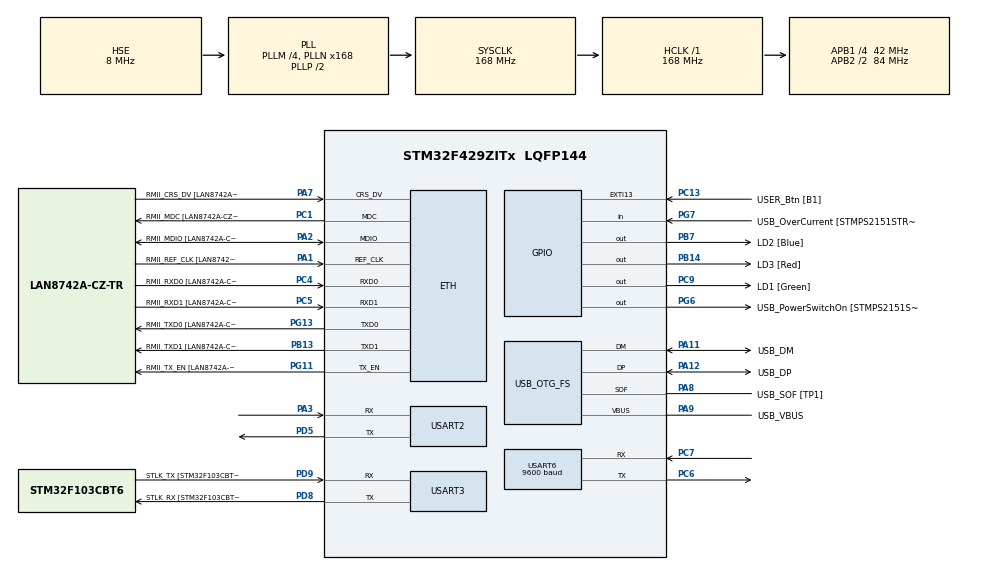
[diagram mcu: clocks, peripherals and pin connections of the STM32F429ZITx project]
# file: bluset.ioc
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ETH.MediaInterface=ETH_MEDIA_INTERFACE_RMII
ETH.PHY_Name=LAN8742A_PHY_ADDRESS
ETH.PHY_Value=0
ETH.PhyAddress=0
Mcu.Family=STM32F4
Mcu.Name=STM32F429ZITx
Mcu.Package=LQFP144
NVIC.PriorityGroup=NVIC_PRIORITYGROUP_4
NVIC.USART2_IRQn=true\:0\:0\:false\:false\:true\:true
NVIC.USART3_IRQn=true\:0\:0\:false\:false\:true\:true
NVIC.USART6_IRQn=true\:0\:0\:false\:false\:true\:true
PA1.GPIO_Label=RMII_REF_CLK [LAN8742A-CZ-TR_REFCLK0]
PA1.Mode=RMII
PA1.Signal=ETH_REF_CLK
PA10.GPIO_Label=USB_ID
PA10.Signal=USB_OTG_FS_ID
PA11.GPIO_Label=USB_DM
PA11.Mode=Device_Only
PA11.Signal=USB_OTG_FS_DM
PA12.GPIO_Label=USB_DP
PA12.Mode=Device_Only
PA12.Signal=USB_OTG_FS_DP
PA13.GPIO_Label=TMS
PA13.Mode=Serial_Wire
PA13.Signal=SYS_JTMS-SWDIO
PA14.GPIO_Label=TCK
PA14.Mode=Serial_Wire
PA14.Signal=SYS_JTCK-SWCLK
PA2.GPIO_Label=RMII_MDIO [LAN8742A-CZ-TR_MDIO]
PA2.Mode=RMII
PA2.Signal=ETH_MDIO
PA3.Mode=Asynchronous
PA3.Signal=USART2_RX
PA7.GPIO_Label=RMII_CRS_DV [LAN8742A-CZ-TR_CRS_DV]
PA7.Mode=RMII
PA7.Signal=ETH_CRS_DV
PA8.GPIO_Label=USB_SOF [TP1]
PA8.Mode=Activate_SOF_FS
PA8.Signal=USB_OTG_FS_SOF
PA9.GPIO_Label=USB_VBUS
PA9.Mode=Activate_VBUS
PA9.Signal=USB_OTG_FS_VBUS
PB13.GPIO_Label=RMII_TXD1 [LAN8742A-CZ-TR_TXD1]
PB13.Mode=RMII
PB13.Signal=ETH_TXD1
PB14.GPIO_Label=LD3 [Red]
PB14.Signal=GPIO_Output
PB7.GPIO_Label=LD2 [Blue]
PB7.Signal=GPIO_Output
PC1.GPIO_Label=RMII_MDC [LAN8742A-CZ-TR_MDC]
PC1.Mode=RMII
PC1.Signal=ETH_MDC
PC13.GPIO_Label=USER_Btn [B1]
PC13.Signal=GPXTI13
PC14/OSC32_IN.Mode=LSE-External-Oscillator
PC14/OSC32_IN.Signal=RCC_OSC32_IN
PC15/OSC32_OUT.Mode=LSE-External-Oscillator
PC15/OSC32_OUT.Signal=RCC_OSC32_OUT
PC4.GPIO_Label=RMII_RXD0 [LAN8742A-CZ-TR_RXD0]
PC4.Mode=RMII
PC4.Signal=ETH_RXD0
PC5.GPIO_Label=RMII_RXD1 [LAN8742A-CZ-TR_RXD1]
PC5.Mode=RMII
PC5.Signal=ETH_RXD1
PC6.Mode=Asynchronous
PC6.Signal=USART6_TX
PC7.Mode=Asynchronous
PC7.Signal=USART6_RX
PC9.GPIO_Label=LD1 [Green]
PC9.Signal=GPIO_Output
PD5.Mode=Asynchronous
PD5.Signal=USART2_TX
PD8.GPIO_Label=STLK_RX [STM32F103CBT6_PA3]
PD8.Mode=Asynchronous
PD8.Signal=USART3_TX
PD9.GPIO_Label=STLK_TX [STM32F103CBT6_PA2]
PD9.Mode=Asynchronous
PD9.Signal=USART3_RX
PG11.GPIO_Label=RMII_TX_EN [LAN8742A-CZ-TR_TXEN]
PG11.Mode=RMII
PG11.Signal=ETH_TX_EN
PG13.GPIO_Label=RMII_TXD0 [LAN8742A-CZ-TR_TXD0]
PG13.Mode=RMII
PG13.Signal=ETH_TXD0
PG6.GPIO_Label=USB_PowerSwitchOn [STMPS2151STR_EN]
PG6.Signal=GPIO_Output
PG7.GPIO_Label=USB_OverCurrent [STMPS2151STR_FAULT]
PG7.Signal=GPIO_Input
PH0/OSC_IN.GPIO_Label=MCO [STM32F103CBT6_PA8]
PH0/OSC_IN.Mode=HSE-External-Clock-Source
PH0/OSC_IN.Signal=RCC_OSC_IN
PH1/OSC_OUT.Mode=HSE-External-Clock-Source
PH1/OSC_OUT.Signal=RCC_OSC_OUT
ProjectManager.HeapSize=0x200
ProjectManager.StackSize=0x400
ProjectManager.TargetToolchain=EWARM V7
RCC.48MHZClocksFreq_Value=48000000
RCC.AHBFreq_Value=168000000
RCC.APB1CLKDivider=RCC_HCLK_DIV4
RCC.APB1Freq_Value=42000000
RCC.APB1TimFreq_Value=84000000
RCC.APB2CLKDivider=RCC_HCLK_DIV2
RCC.APB2Freq_Value=84000000
RCC.APB2TimCLKDivider=2
RCC.APB2TimFreq_Value=168000000
RCC.CortexFreq_Value=168000000
RCC.HCLKFreq_Value=168000000
RCC.HSE_VALUE=8000000
RCC.HSI_VALUE=16000000
RCC.PLLM=4
RCC.PLLMUL=RCC_PLL_MUL9
RCC.PLLN=168
RCC.PLLQ=7
RCC.PRESCALERUSB=RCC_USBCLKSOURCE_PLL_DIV1_5
RCC.SYSCLKFreq_VALUE=168000000
RCC.SYSCLKSource=RCC_SYSCLKSOURCE_PLLCLK
RCC.SYSCLKSourceVirtual=RCC_SYSCLKSOURCE_PLLCLK
RCC.USBFreq_Value=48000000
RCC.VCOOutputFreq_Value=336000000
USART2.VirtualMode=VM_ASYNC
USART3.VirtualMode=VM_ASYNC
USART6.BaudRate=9600
USART6.VirtualMode=VM_ASYNC
USB_OTG_FS.VirtualMode=Device_Only
board=NUCLEO-F429ZI

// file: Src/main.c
/* USER CODE BEGIN Header */
/**
  ******************************************************************************
  * @file           : main.c
  * @brief          : Main program body
  ******************************************************************************
  ** This notice applies to any and all portions of this file
  * that are not between comment pairs USER CODE BEGIN and
  * USER CODE END. Other portions of this file, whether
  * inserted by the user or by software development tools
  * are owned by their respective copyright owners.
  *
  * COPYRIGHT(c) 2019 STMicroelectronics
  *
  * Redistribution and use in source and binary forms, with or without modification,
  * are permitted provided that the following conditions are met:
  *   1. Redistributions of source code must retain the above copyright notice,
  *      this list of conditions and the following disclaimer.
  *   2. Redistributions in binary form must reproduce the above copyright notice,
  *      this list of conditions and the following disclaimer in the documentation
  *      and/or other materials provided with the distribution.
  *   3. Neither the name of STMicroelectronics nor the names of its contributors
  *      may be used to endorse or promote products derived from this software
  *      without specific prior written permission.
  *
  * THIS SOFTWARE IS PROVIDED BY THE COPYRIGHT HOLDERS AND CONTRIBUTORS "AS IS"
  * AND ANY EXPRESS OR IMPLIED WARRANTIES, INCLUDING, BUT NOT LIMITED TO, THE
  * IMPLIED WARRANTIES OF MERCHANTABILITY AND FITNESS FOR A PARTICULAR PURPOSE ARE
  * DISCLAIMED. IN NO EVENT SHALL THE COPYRIGHT HOLDER OR CONTRIBUTORS BE LIABLE
  * FOR ANY DIRECT, INDIRECT, INCIDENTAL, SPECIAL, EXEMPLARY, OR CONSEQUENTIAL
  * DAMAGES (INCLUDING, BUT NOT LIMITED TO, PROCUREMENT OF SUBSTITUTE GOODS OR
  * SERVICES; LOSS OF USE, DATA, OR PROFITS; OR BUSINESS INTERRUPTION) HOWEVER
  * CAUSED AND ON ANY THEORY OF LIABILITY, WHETHER IN CONTRACT, STRICT LIABILITY,
  * OR TORT (INCLUDING NEGLIGENCE OR OTHERWISE) ARISING IN ANY WAY OUT OF THE USE
  * OF THIS SOFTWARE, EVEN IF ADVISED OF THE POSSIBILITY OF SUCH DAMAGE.
  *
  ******************************************************************************
  */

/* USER CODE END Header */

#include "main.h"

/* USER CODE BEGIN Includes */
#include <stdio.h>
#include <stdlib.h>
#include <string.h>
#include "queue.h"

uint8_t pcdata, bldata;
uint8_t stop[3] = {'a', '\r', '\n'}; //1 : stop, 2 : restart, 3 : error
uint8_t restart[3] = {'b', '\r', '\n'};
uint8_t error[3] = {'c', '\r', '\n'};

uint8_t ci = 0;
uint8_t ctemp[100];
uint8_t itemp[100];
uint8_t str_arr[100];
uint8_t istr_len = 0;
int flag = 0;
/* USER CODE END Includes */

ETH_HandleTypeDef heth;

UART_HandleTypeDef huart2;
UART_HandleTypeDef huart3;
UART_HandleTypeDef huart6;

PCD_HandleTypeDef hpcd_USB_OTG_FS;

void SystemClock_Config(void);
static void MX_GPIO_Init(void);
static void MX_ETH_Init(void);
static void MX_USART3_UART_Init(void);
static void MX_USB_OTG_FS_PCD_Init(void);
static void MX_USART6_UART_Init(void);
static void MX_USART2_UART_Init(void);

int main(void)//메인
{

  /* MCU Configuration--------------------------------------------------------*/

  /* Reset of all peripherals, Initializes the Flash interface and the Systick. */
  HAL_Init();

  /* Configure the system clock */
  SystemClock_Config();

  /* Initialize all configured peripherals */
  MX_GPIO_Init();
  MX_ETH_Init();
  MX_USART3_UART_Init();
  MX_USB_OTG_FS_PCD_Init();
  MX_USART6_UART_Init();
  HAL_Delay(1);
  MX_USART2_UART_Init();
  /* USER CODE BEGIN 2 */
  HAL_UART_Receive_IT(&huart6, &bldata, 1);
  HAL_UART_Receive_IT(&huart3, &pcdata, 1);
  HAL_UART_Receive_IT(&huart2, &pcdata, 1);
  HAL_UART_Transmit(&huart3, "2\n\r", 3, 100);
  BT_M_Init2();
  BT_M_Init6();
  q_init();
  //HAL_UART_Transmit(&huart3, "2\n\r", 3, 100);
  //HAL_UART_Transmit(&huart3, "3\n\r", 3, 100);
  /* USER CODE END 2 */

  /* Infinite loop */
  while (1)
  {
    //배열을 확인하는 코드
      int i = 0;
      while((itemp[i] = qi_delete())){//수신 큐에서 데이터를 송신 큐로 이동

          if(itemp[i] == '.'){
              istr_len++;
              memmove(str_arr, itemp, istr_len);
              HAL_Delay(2000);
              HAL_UART_Transmit(&huart6, str_arr, istr_len, 100);
              istr_len = 0;
              i = 0;
              //break;
          }
          istr_len++;
          i++;
      }

      if(flag==1 && (qi_empty()==0)){
          //HAL_UART_Transmit(&huart3, restart, 3, 100);
          HAL_UART_Transmit(&huart2, restart, 3, 100);
          flag = 0;
        }

    //배열이 새로들어온 데이터
    //배열이 들어온 데이터의 방향 감지
//    framelen = atoi(temp[0]);

//    HAL_UART_Transmit(&huart6, temp, framelen, 100);
    //반대 채널으로 데이터 전송
  }
}

void SystemClock_Config(void)
{
  RCC_OscInitTypeDef RCC_OscInitStruct = {0};
  RCC_ClkInitTypeDef RCC_ClkInitStruct = {0};

  /**Configure the main internal regulator output voltage
  */
  __HAL_RCC_PWR_CLK_ENABLE();
  __HAL_PWR_VOLTAGESCALING_CONFIG(PWR_REGULATOR_VOLTAGE_SCALE1);
  /**Initializes the CPU, AHB and APB busses clocks
  */
  RCC_OscInitStruct.OscillatorType = RCC_OSCILLATORTYPE_HSE;
  RCC_OscInitStruct.HSEState = RCC_HSE_BYPASS;
  RCC_OscInitStruct.PLL.PLLState = RCC_PLL_ON;
  RCC_OscInitStruct.PLL.PLLSource = RCC_PLLSOURCE_HSE;
  RCC_OscInitStruct.PLL.PLLM = 4;
  RCC_OscInitStruct.PLL.PLLN = 168;
  RCC_OscInitStruct.PLL.PLLP = RCC_PLLP_DIV2;
  RCC_OscInitStruct.PLL.PLLQ = 7;
  if (HAL_RCC_OscConfig(&RCC_OscInitStruct) != HAL_OK)
  {
    Error_Handler();
  }
  /**Initializes the CPU, AHB and APB busses clocks
  */
  RCC_ClkInitStruct.ClockType = RCC_CLOCKTYPE_HCLK|RCC_CLOCKTYPE_SYSCLK
                              |RCC_CLOCKTYPE_PCLK1|RCC_CLOCKTYPE_PCLK2;
  RCC_ClkInitStruct.SYSCLKSource = RCC_SYSCLKSOURCE_PLLCLK;
  RCC_ClkInitStruct.AHBCLKDivider = RCC_SYSCLK_DIV1;
  RCC_ClkInitStruct.APB1CLKDivider = RCC_HCLK_DIV4;
  RCC_ClkInitStruct.APB2CLKDivider = RCC_HCLK_DIV2;

  if (HAL_RCC_ClockConfig(&RCC_ClkInitStruct, FLASH_LATENCY_5) != HAL_OK)
  {
    Error_Handler();
  }
}

static void MX_ETH_Init(void)
{

   uint8_t MACAddr[6] ;

  heth.Instance = ETH;
  heth.Init.AutoNegotiation = ETH_AUTONEGOTIATION_ENABLE;
  heth.Init.PhyAddress = LAN8742A_PHY_ADDRESS;
  MACAddr[0] = 0x00;
  MACAddr[1] = 0x80;
  MACAddr[2] = 0xE1;
  MACAddr[3] = 0x00;
  MACAddr[4] = 0x00;
  MACAddr[5] = 0x00;
  heth.Init.MACAddr = &MACAddr[0];
  heth.Init.RxMode = ETH_RXPOLLING_MODE;
  heth.Init.ChecksumMode = ETH_CHECKSUM_BY_HARDWARE;
  heth.Init.MediaInterface = ETH_MEDIA_INTERFACE_RMII;

  if (HAL_ETH_Init(&heth) != HAL_OK)
  {
    Error_Handler();
  }

}

static void MX_USART2_UART_Init(void)
{

  huart2.Instance = USART2;
  huart2.Init.BaudRate = 9600;
  huart2.Init.WordLength = UART_WORDLENGTH_8B;
  huart2.Init.StopBits = UART_STOPBITS_1;
  huart2.Init.Parity = UART_PARITY_NONE;
  huart2.Init.Mode = UART_MODE_TX_RX;
  huart2.Init.HwFlowCtl = UART_HWCONTROL_NONE;
  huart2.Init.OverSampling = UART_OVERSAMPLING_16;
  if (HAL_UART_Init(&huart2) != HAL_OK)
  {
    Error_Handler();
  }

}

static void MX_USART3_UART_Init(void)
{

  huart3.Instance = USART3;
  huart3.Init.BaudRate = 115200;
  huart3.Init.WordLength = UART_WORDLENGTH_8B;
  huart3.Init.StopBits = UART_STOPBITS_1;
  huart3.Init.Parity = UART_PARITY_NONE;
  huart3.Init.Mode = UART_MODE_TX_RX;
  huart3.Init.HwFlowCtl = UART_HWCONTROL_NONE;
  huart3.Init.OverSampling = UART_OVERSAMPLING_16;
  if (HAL_UART_Init(&huart3) != HAL_OK)
  {
    Error_Handler();
  }

}

static void MX_USART6_UART_Init(void)
{

  huart6.Instance = USART6;
  huart6.Init.BaudRate = 9600;
  huart6.Init.WordLength = UART_WORDLENGTH_8B;
  huart6.Init.StopBits = UART_STOPBITS_1;
  huart6.Init.Parity = UART_PARITY_NONE;
  huart6.Init.Mode = UART_MODE_TX_RX;
  huart6.Init.HwFlowCtl = UART_HWCONTROL_NONE;
  huart6.Init.OverSampling = UART_OVERSAMPLING_16;
  if (HAL_UART_Init(&huart6) != HAL_OK)
  {
    Error_Handler();
  }

}

static void MX_USB_OTG_FS_PCD_Init(void)
{

  hpcd_USB_OTG_FS.Instance = USB_OTG_FS;
  hpcd_USB_OTG_FS.Init.dev_endpoints = 4;
  hpcd_USB_OTG_FS.Init.speed = PCD_SPEED_FULL;
  hpcd_USB_OTG_FS.Init.dma_enable = DISABLE;
  hpcd_USB_OTG_FS.Init.ep0_mps = DEP0CTL_MPS_64;
  hpcd_USB_OTG_FS.Init.phy_itface = PCD_PHY_EMBEDDED;
  hpcd_USB_OTG_FS.Init.Sof_enable = ENABLE;
  hpcd_USB_OTG_FS.Init.low_power_enable = DISABLE;
  hpcd_USB_OTG_FS.Init.lpm_enable = DISABLE;
  hpcd_USB_OTG_FS.Init.vbus_sensing_enable = ENABLE;
  hpcd_USB_OTG_FS.Init.use_dedicated_ep1 = DISABLE;
  if (HAL_PCD_Init(&hpcd_USB_OTG_FS) != HAL_OK)
  {
    Error_Handler();
  }

}

static void MX_GPIO_Init(void)
{
  GPIO_InitTypeDef GPIO_InitStruct = {0};

  /* GPIO Ports Clock Enable */
  __HAL_RCC_GPIOC_CLK_ENABLE();
  __HAL_RCC_GPIOH_CLK_ENABLE();
  __HAL_RCC_GPIOA_CLK_ENABLE();
  __HAL_RCC_GPIOB_CLK_ENABLE();
  __HAL_RCC_GPIOD_CLK_ENABLE();
  __HAL_RCC_GPIOG_CLK_ENABLE();

  /*Configure GPIO pin Output Level */
  HAL_GPIO_WritePin(GPIOB, LD3_Pin|LD2_Pin, GPIO_PIN_RESET);

  /*Configure GPIO pin Output Level */
  HAL_GPIO_WritePin(USB_PowerSwitchOn_GPIO_Port, USB_PowerSwitchOn_Pin, GPIO_PIN_RESET);

  /*Configure GPIO pin Output Level */
  HAL_GPIO_WritePin(LD1_GPIO_Port, LD1_Pin, GPIO_PIN_RESET);

  /*Configure GPIO pin : USER_Btn_Pin */
  GPIO_InitStruct.Pin = USER_Btn_Pin;
  GPIO_InitStruct.Mode = GPIO_MODE_IT_RISING;
  GPIO_InitStruct.Pull = GPIO_NOPULL;
  HAL_GPIO_Init(USER_Btn_GPIO_Port, &GPIO_InitStruct);

  /*Configure GPIO pins : LD3_Pin LD2_Pin */
  GPIO_InitStruct.Pin = LD3_Pin|LD2_Pin;
  GPIO_InitStruct.Mode = GPIO_MODE_OUTPUT_PP;
  GPIO_InitStruct.Pull = GPIO_NOPULL;
  GPIO_InitStruct.Speed = GPIO_SPEED_FREQ_LOW;
  HAL_GPIO_Init(GPIOB, &GPIO_InitStruct);

  /*Configure GPIO pin : USB_PowerSwitchOn_Pin */
  GPIO_InitStruct.Pin = USB_PowerSwitchOn_Pin;
  GPIO_InitStruct.Mode = GPIO_MODE_OUTPUT_PP;
  GPIO_InitStruct.Pull = GPIO_NOPULL;
  GPIO_InitStruct.Speed = GPIO_SPEED_FREQ_LOW;
  HAL_GPIO_Init(USB_PowerSwitchOn_GPIO_Port, &GPIO_InitStruct);

  /*Configure GPIO pin : USB_OverCurrent_Pin */
  GPIO_InitStruct.Pin = USB_OverCurrent_Pin;
  GPIO_InitStruct.Mode = GPIO_MODE_INPUT;
  GPIO_InitStruct.Pull = GPIO_NOPULL;
  HAL_GPIO_Init(USB_OverCurrent_GPIO_Port, &GPIO_InitStruct);

  /*Configure GPIO pin : LD1_Pin */
  GPIO_InitStruct.Pin = LD1_Pin;
  GPIO_InitStruct.Mode = GPIO_MODE_OUTPUT_PP;
  GPIO_InitStruct.Pull = GPIO_NOPULL;
  GPIO_InitStruct.Speed = GPIO_SPEED_FREQ_LOW;
  HAL_GPIO_Init(LD1_GPIO_Port, &GPIO_InitStruct);

}

/* USER CODE BEGIN 4 */
void HAL_UART_RxCpltCallback(UART_HandleTypeDef *huart){ //수신 인터럽트
  uint8_t nar[2] = {'\r', '\n'};

  if(huart->Instance == huart2.Instance){ //uart 2번에서 입력(블루투스1)
  //  HAL_UART_Transmit(&huart6, &bldata, 1, 100);
    HAL_UART_Transmit(&huart3, &bldata, 1, 100);
//     temp[str_len] = bldata;
//    if(qi_insert(bldata) == 0){//큐가 다 차면
        //    HAL_UART_Transmit(&huart2, stop, 3, 100);
         //   HAL_Delay(10);
          //  HAL_UART_Transmit(&huart3, stop, 3, 100);

    if(qi_insert(bldata)==0 ){
      HAL_UART_Transmit(&huart2, stop, 3, 100);
     // HAL_UART_Transmit(&huart3, stop, 3, 100);
      flag = 1;

    }

    //배열에 저장하는 코드
    //어느방향에서 왔는지 구별하는 장치
    //배열이 들어올때마다 새 문자열을 알리는 장치

    HAL_UART_Receive_IT(&huart2, &bldata, 1);
  }

  if(huart->Instance == huart6.Instance){ //uart 6번에서 입력(블루투스2)
    HAL_UART_Transmit(&huart2, &bldata, 1, 100);
    HAL_UART_Transmit(&huart3, &bldata, 1, 100);

    HAL_UART_Receive_IT(&huart6, &bldata, 1);
  }

  if(huart->Instance == huart3.Instance){ //컴퓨터에서 입력
    HAL_UART_Transmit(&huart3, &pcdata, 1, 100);

    if(pcdata == '.'){
      ctemp[ci] = nar[0];
      ctemp[ci+1] = nar[1];
      HAL_UART_Transmit(&huart2, ctemp, ci, 1000);
      ci=0;
    }
    else if(pcdata == ','){
      ctemp[ci] = nar[0];
      ctemp[ci+1] = nar[1];
      HAL_UART_Transmit(&huart6, ctemp, ci, 1000);
      ci=0;
    } else {
      ctemp[ci] = pcdata;
      ci++;
    }

    HAL_UART_Receive_IT(&huart3, &pcdata, 1);
  }
}
/* USER CODE END 4 */

void Error_Handler(void)
{
}

/************************ (C) COPYRIGHT STMicroelectronics *****END OF FILE****/
